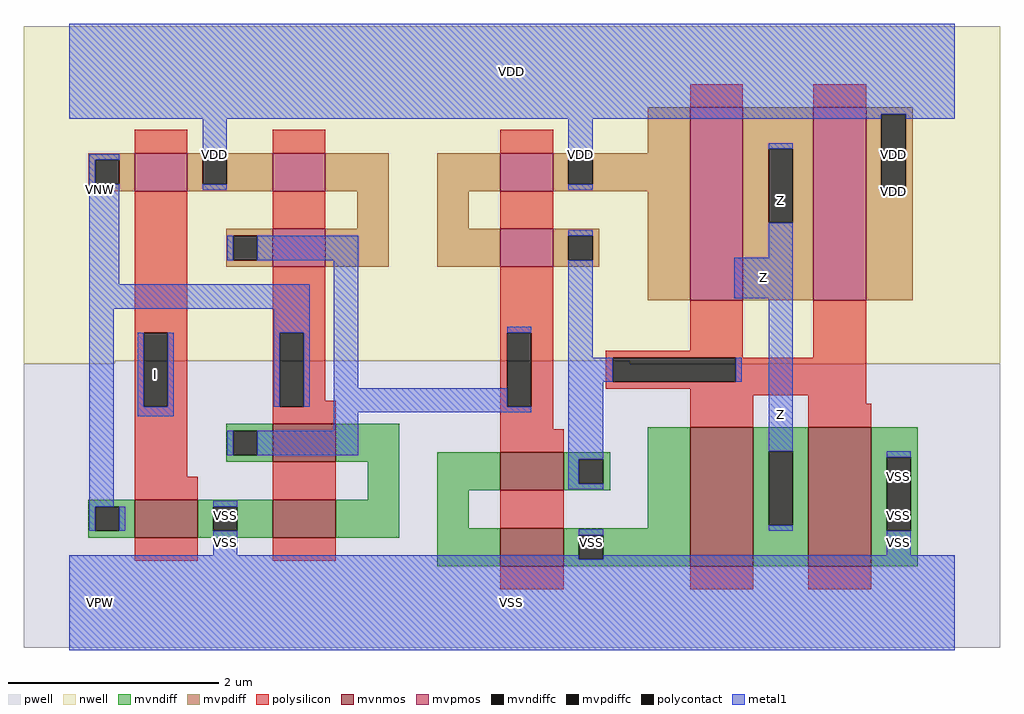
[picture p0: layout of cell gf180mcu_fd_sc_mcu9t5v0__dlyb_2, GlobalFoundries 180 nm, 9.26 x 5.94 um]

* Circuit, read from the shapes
.subckt gf180mcu_fd_sc_mcu9t5v0__dlyb_2 I Z VDD VNW VPW VSS
XM1 VSS I n1 VPW nfet_06v0 w=0.36u l=0.6u
XM2 n2 n1 VSS VPW nfet_06v0 w=0.36u l=0.6u
XM3 n2 n1 n3 VPW nfet_06v0 w=0.36u l=0.6u
XM4 VSS n3 n4 VPW nfet_06v0 w=0.36u l=0.6u
XM5 n5 n3 n4 VPW nfet_06v0 w=0.36u l=0.6u
XM6 Z n5 VSS VPW nfet_06v0 w=1.32u l=0.6u m=2
XM7 VDD I n1 VNW pfet_06v0 w=0.36u l=0.5u
XM8 n6 n1 n3 VNW pfet_06v0 w=0.36u l=0.5u
XM9 n6 n1 VDD VNW pfet_06v0 w=0.36u l=0.5u
XM10 n5 n3 n7 VNW pfet_06v0 w=0.36u l=0.5u
XM11 VDD n3 n7 VNW pfet_06v0 w=0.36u l=0.5u
XM12 Z n5 VDD VNW pfet_06v0 w=1.83u l=0.5u m=2
.ends

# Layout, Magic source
magic
tech gf180mcuD
magscale 1 10
<< nwell >>
rect -86 459 1766 1094
rect -86 453 86 459
rect 1063 453 1766 459
<< pwell >>
rect 86 453 1063 459
rect -86 -86 1766 453
<< mvnmos >>
rect 386 267 506 339
rect 124 123 244 195
rect 386 123 506 195
rect 818 213 938 285
rect 818 69 938 141
rect 1178 69 1298 333
rect 1402 69 1522 333
<< mvpmos >>
rect 124 781 224 853
rect 386 781 486 853
rect 386 637 486 709
rect 818 781 918 853
rect 818 637 918 709
rect 1178 574 1278 940
rect 1412 574 1512 940
<< mvndiff >>
rect 298 326 386 339
rect 298 280 311 326
rect 357 280 386 326
rect 298 267 386 280
rect 506 267 626 339
rect 566 195 626 267
rect 36 182 124 195
rect 36 136 49 182
rect 95 136 124 182
rect 36 123 124 136
rect 244 182 386 195
rect 244 136 273 182
rect 319 136 386 182
rect 244 123 386 136
rect 506 123 626 195
rect 698 213 818 285
rect 938 272 1026 285
rect 938 226 967 272
rect 1013 226 1026 272
rect 938 213 1026 226
rect 698 141 758 213
rect 1098 141 1178 333
rect 698 69 818 141
rect 938 128 1178 141
rect 938 82 967 128
rect 1013 82 1178 128
rect 938 69 1178 82
rect 1298 287 1402 333
rect 1298 147 1327 287
rect 1373 147 1402 287
rect 1298 69 1402 147
rect 1522 276 1610 333
rect 1522 136 1551 276
rect 1597 136 1610 276
rect 1522 69 1610 136
<< mvpdiff >>
rect 1098 853 1178 940
rect 36 840 124 853
rect 36 794 49 840
rect 95 794 124 840
rect 36 781 124 794
rect 224 840 386 853
rect 224 794 253 840
rect 299 794 386 840
rect 224 781 386 794
rect 486 781 606 853
rect 546 709 606 781
rect 298 696 386 709
rect 298 650 311 696
rect 357 650 386 696
rect 298 637 386 650
rect 486 637 606 709
rect 698 781 818 853
rect 918 840 1178 853
rect 918 794 947 840
rect 993 794 1178 840
rect 918 781 1178 794
rect 698 709 758 781
rect 698 637 818 709
rect 918 696 1006 709
rect 918 650 947 696
rect 993 650 1006 696
rect 918 637 1006 650
rect 1098 574 1178 781
rect 1278 861 1412 940
rect 1278 721 1327 861
rect 1373 721 1412 861
rect 1278 574 1412 721
rect 1512 927 1600 940
rect 1512 787 1541 927
rect 1587 787 1600 927
rect 1512 574 1600 787
<< mvndiffc >>
rect 311 280 357 326
rect 49 136 95 182
rect 273 136 319 182
rect 967 226 1013 272
rect 967 82 1013 128
rect 1327 147 1373 287
rect 1551 136 1597 276
<< mvpdiffc >>
rect 49 794 95 840
rect 253 794 299 840
rect 311 650 357 696
rect 947 794 993 840
rect 947 650 993 696
rect 1327 721 1373 861
rect 1541 787 1587 927
<< polysilicon >>
rect 1178 940 1278 984
rect 1412 940 1512 984
rect 124 853 224 897
rect 386 853 486 897
rect 818 853 918 897
rect 124 512 224 781
rect 386 709 486 781
rect 818 709 918 781
rect 124 372 141 512
rect 187 372 224 512
rect 124 239 224 372
rect 386 512 486 637
rect 386 372 399 512
rect 445 383 486 512
rect 818 512 918 637
rect 445 372 506 383
rect 386 339 506 372
rect 818 372 831 512
rect 877 372 918 512
rect 1178 478 1278 574
rect 1018 465 1278 478
rect 1412 465 1512 574
rect 1018 419 1031 465
rect 1265 419 1512 465
rect 1018 406 1512 419
rect 818 329 918 372
rect 1178 393 1512 406
rect 1178 333 1298 393
rect 1402 377 1512 393
rect 1402 333 1522 377
rect 818 285 938 329
rect 124 195 244 239
rect 386 195 506 267
rect 818 141 938 213
rect 124 79 244 123
rect 386 79 506 123
rect 818 25 938 69
rect 1178 25 1298 69
rect 1402 25 1522 69
<< polycontact >>
rect 141 372 187 512
rect 399 372 445 512
rect 831 372 877 512
rect 1031 419 1265 465
<< metal1 >>
rect 0 927 1680 1098
rect 0 918 1541 927
rect 38 840 95 851
rect 38 794 49 840
rect 38 604 95 794
rect 253 840 299 918
rect 253 783 299 794
rect 947 840 993 918
rect 947 783 993 794
rect 1327 861 1373 872
rect 1587 918 1680 927
rect 1541 776 1587 787
rect 947 696 993 707
rect 300 650 311 696
rect 357 650 548 696
rect 38 558 456 604
rect 38 182 84 558
rect 388 512 456 558
rect 130 372 141 512
rect 187 372 198 512
rect 388 372 399 512
rect 445 372 456 512
rect 502 407 548 650
rect 1327 654 1373 721
rect 831 512 877 523
rect 502 372 831 407
rect 130 354 198 372
rect 502 361 877 372
rect 947 465 993 650
rect 1262 578 1373 654
rect 947 419 1031 465
rect 1265 419 1276 465
rect 502 326 548 361
rect 300 280 311 326
rect 357 280 548 326
rect 947 272 1013 419
rect 947 226 967 272
rect 947 215 1013 226
rect 1327 287 1373 578
rect 273 182 319 193
rect 38 136 49 182
rect 95 136 106 182
rect 273 90 319 136
rect 967 128 1013 139
rect 1327 136 1373 147
rect 1551 276 1597 287
rect 0 82 967 90
rect 1551 90 1597 136
rect 1013 82 1680 90
rect 0 -90 1680 82
<< labels >>
flabel metal1 s 130 354 198 512 0 FreeSans 200 0 0 0 I
port 1 nsew default input
flabel metal1 s 0 918 1680 1098 0 FreeSans 200 0 0 0 VDD
port 3 nsew power bidirectional abutment
flabel metal1 s 1551 193 1597 287 0 FreeSans 200 0 0 0 VSS
port 6 nsew ground bidirectional abutment
flabel metal1 s 1327 654 1373 872 0 FreeSans 200 0 0 0 Z
port 2 nsew default output
flabel nwell s 10 734 110 834 0 FreeSans 400 0 0 0 VNW
port 4 nsew power bidirectional
flabel pwell s 10 -50 110 50 0 FreeSans 400 0 0 0 VPW
port 5 nsew ground bidirectional
rlabel metal1 s 1262 578 1373 654 1 Z
port 2 nsew default output
rlabel metal1 s 1327 136 1373 578 1 Z
port 2 nsew default output
rlabel metal1 s 1541 783 1587 918 1 VDD
port 3 nsew power bidirectional abutment
rlabel metal1 s 947 783 993 918 1 VDD
port 3 nsew power bidirectional abutment
rlabel metal1 s 253 783 299 918 1 VDD
port 3 nsew power bidirectional abutment
rlabel metal1 s 1541 776 1587 783 1 VDD
port 3 nsew power bidirectional abutment
rlabel metal1 s 1551 139 1597 193 1 VSS
port 6 nsew ground bidirectional abutment
rlabel metal1 s 273 139 319 193 1 VSS
port 6 nsew ground bidirectional abutment
rlabel metal1 s 1551 90 1597 139 1 VSS
port 6 nsew ground bidirectional abutment
rlabel metal1 s 967 90 1013 139 1 VSS
port 6 nsew ground bidirectional abutment
rlabel metal1 s 273 90 319 139 1 VSS
port 6 nsew ground bidirectional abutment
rlabel metal1 s 0 -90 1680 90 1 VSS
port 6 nsew ground bidirectional abutment
<< properties >>
string FIXED_BBOX 0 0 1680 1008
string GDS_END 716480
string GDS_FILE $PDKPATH/libs.ref/gf180mcu_fd_sc_mcu9t5v0/gds/gf180mcu_fd_sc_mcu9t5v0.gds
string GDS_START 711834
string LEFclass core
string LEFsite GF018hv5v_green_sc9
string LEFsymmetry X Y
<< end >>
